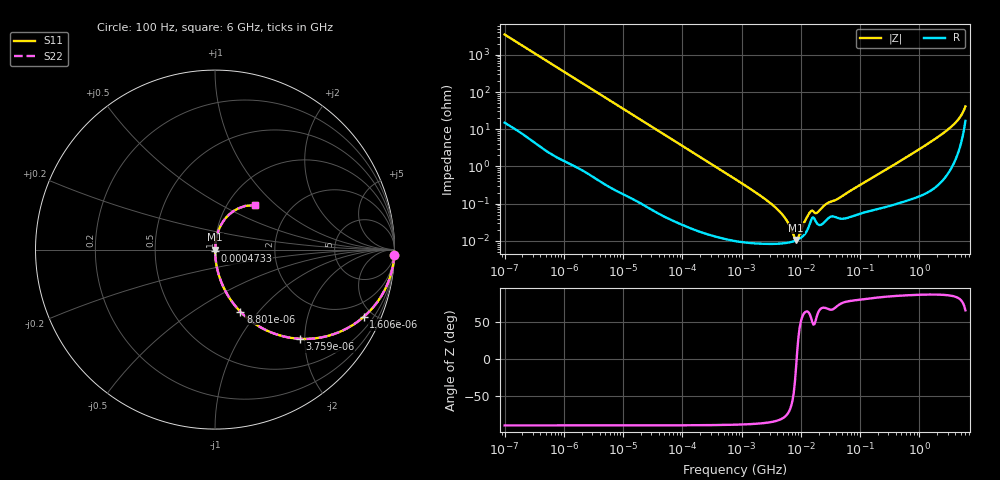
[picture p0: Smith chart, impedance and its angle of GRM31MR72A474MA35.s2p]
!Murata Part Number: GRM31MR72A474MA35
!These Parameters are Measured in Series Mode Connection
!Data Generated on Mar 30, 2021
!  o--ll--o
!Port1  Port2
!  o------o
!Operation Temp=25[degC], DC Bias Voltage=0[V]
!Freq. Start=100[Hz] Stop=6[GHz] 401[Steps]
# Hz S RI R 50
!Freq.(Hz) S11(Real) S11(Imag) S21(Real) S21(Imag) S12(Real) S12(Imag) S22(Real) S22(Imag)
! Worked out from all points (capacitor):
!   401 points, 100 Hz to 6 GHz, reference 50 ohm
!   read as one part in series: C = 453 nF near 109 Hz
!   lowest |Z| = 10.6 mohm at 8.312 MHz (marker M1)
!   series resonance near 8.51 MHz, so ESL is about 770 pH
!   S11 on the Smith chart (normalised r, x): 100 Hz: 1, -70; 1.606 kHz: 1.02, -4.40; 3.759 kHz: 1.01, -1.89; 8.801 kHz: 1.00, -0.81; 473.3 kHz: 1.00, -0.02; 6 GHz: 1.34, +0.75
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100  0.9991 -0.0285  0.000932 0.0285  0.000932 0.0285  0.9991 -0.0285
458  0.9829 -0.1277  0.0171 0.1277  0.0171 0.1277  0.9829 -0.1277
1606  0.8279 -0.3753  0.1721 0.3753  0.1721 0.3753  0.8279 -0.3753
2008  0.7553 -0.4277  0.2447 0.4277  0.2447 0.4277  0.7553 -0.4277
3759  0.4708 -0.4969  0.5292 0.4969  0.5292 0.4969  0.4708 -0.4969
8801  0.1413 -0.3459  0.8587 0.3459  0.8587 0.3459  0.1413 -0.3459
16473  0.0457 -0.206  0.9543 0.206  0.9543 0.206  0.0457 -0.206
40335  0.0083 -0.0878  0.9917 0.0878  0.9917 0.0878  0.0083 -0.0878
473344  0.000175 -0.00759  0.9998 0.00759  0.9998 0.00759  0.000175 -0.00759
774597  0.000121 -0.00462  0.9999 0.00462  0.9999 0.00462  0.000121 -0.00462
4060267  8.46e-05 -0.000695  0.9999 0.000695  0.9999 0.000695  8.46e-05 -0.000695
5809218  8.91e-05 -0.000339  0.9999 0.000339  0.9999 0.000339  8.91e-05 -0.000339
8311524  0.000103 -2.08e-05  0.9999 2.08e-05  0.9999 2.08e-05  0.000103 -2.08e-05
9090158  0.000111 5.93e-05  0.9999 -5.93e-05  0.9999 -5.93e-05  0.000111 5.93e-05
1.300572e7  0.000203 0.00042  0.9998 -0.00042  0.9998 -0.00042  0.000203 0.00042
1.555665e7  0.000415 0.000505  0.9996 -0.000505  0.9996 -0.000505  0.000415 0.000505
1.946e7  0.000279 0.00053  0.9997 -0.00053  0.9997 -0.00053  0.000279 0.00053
2.784235e7  0.00038 0.000952  0.9996 -0.000952  0.9996 -0.000952  0.00038 0.000952
3.124326e8  0.000952 0.00926  0.999 -0.00926  0.999 -0.00926  0.000952 0.00926
2.679998e9  0.0117 0.0823  0.9883 -0.0823  0.9883 -0.0823  0.0117 0.0823
4.586474e9  0.0546 0.1696  0.9454 -0.1696  0.9454 -0.1696  0.0546 0.1696
6e9  0.2234 0.249  0.7766 -0.249  0.7766 -0.249  0.2234 0.249
